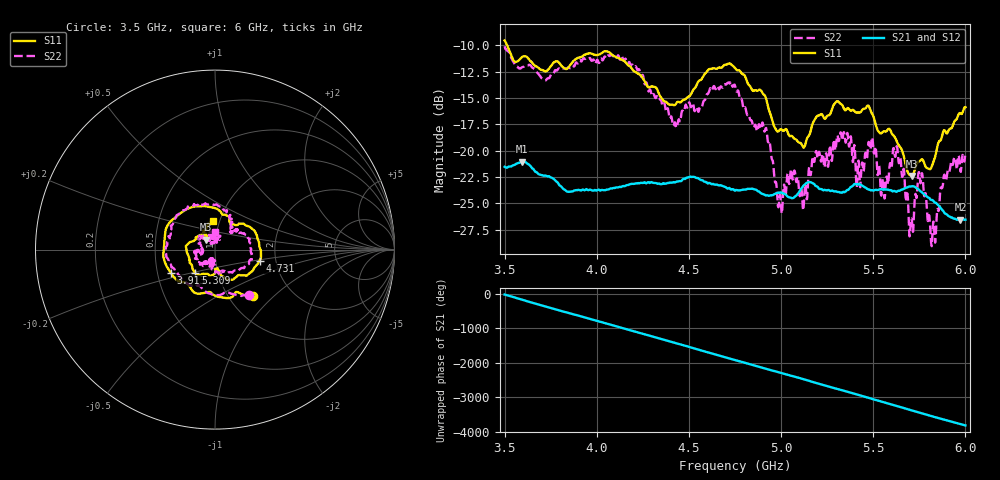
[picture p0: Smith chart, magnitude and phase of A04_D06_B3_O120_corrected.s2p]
! Created with skrf 1.9.0 (http://scikit-rf.org).
# Hz S RI R 50.0
!freq ReS11 ImS11 ReS21 ImS21 ReS12 ImS12 ReS22 ImS22
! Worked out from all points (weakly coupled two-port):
!   1601 points, 3.5 GHz to 6 GHz, reference 50 ohm
!   highest |S21| = -21.04 dB at 3.592 GHz (marker M1); lowest = -26.6 dB at 5.973 GHz (marker M2)
!   lowest |S11| = -22.4 dB at 5.709 GHz (marker M3), VSWR 1.16, Z = 44.9 + j5.06 ohm
!   |S11| at or under -10 dB: 3.514 GHz to end of sweep
!   |S22| runs from -29.1 to -10.1 dB; largest |S21 - S12| = 0.001
!   S11 on the Smith chart (normalised r, x): 3.5 GHz: 1.28, -0.75; 3.913 GHz: 0.59, -0.17; 4.731 GHz: 1.64, -0.22; 5.309 GHz: 0.78, -0.21; 6 GHz: 0.93, +0.31
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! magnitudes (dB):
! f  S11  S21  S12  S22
! 3.5 GHz  -9.5  -21.5  -21.5  -10.1
! 3.592 GHz  -11.1  -21.0  -21.0  -12.1
! 3.913 GHz  -11.1  -23.8  -23.7  -11.4
! 3.917 GHz  -11.1  -23.8  -23.7  -11.5
! 4.334 GHz  -14.5  -23.1  -23.1  -15.1
! 4.427 GHz  -15.6  -23.0  -23.0  -17.4
! 4.731 GHz  -11.8  -23.7  -23.6  -13.6
! 4.75 GHz  -12.1  -23.8  -23.7  -13.8
! 4.911 GHz  -14.7  -24.2  -24.1  -18.2
! 4.994 GHz  -18.0  -24.0  -23.9  -24.2
! 5.167 GHz  -17.6  -23.1  -23.0  -21.2
! 5.309 GHz  -15.3  -23.9  -23.9  -18.8
! 5.419 GHz  -16.4  -23.2  -23.2  -21.0
! 5.486 GHz  -16.2  -23.7  -23.7  -19.8
! 5.584 GHz  -17.9  -23.7  -23.7  -22.5
! 5.638 GHz  -19.5  -23.8  -23.7  -21.1
! 5.709 GHz  -22.4  -23.4  -23.3  -26.6
! 5.756 GHz  -20.9  -23.9  -23.8  -23.1
! 5.827 GHz  -21.0  -24.8  -24.7  -26.7
! 5.877 GHz  -18.4  -25.7  -25.6  -23.4
! 5.973 GHz  -16.5  -26.6  -26.5  -21.9
! 6 GHz  -15.9  -26.6  -26.5  -20.1
